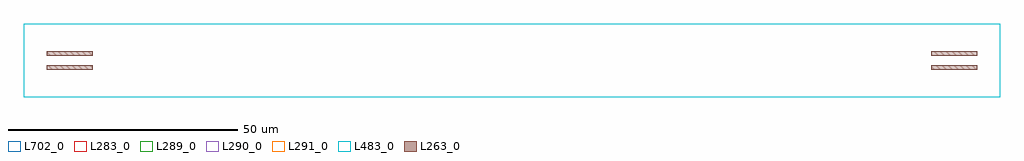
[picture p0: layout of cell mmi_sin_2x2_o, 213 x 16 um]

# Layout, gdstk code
import gdstk
lib = gdstk.Library(unit=1e-6, precision=1e-09)
def R(c, l, rs):  # rectangles x0, y0, x1, y1
    for r in rs: c.add(gdstk.rectangle(r[:2], r[2:], *l))
L263_0 = (263, 0)
L283_0 = (283, 0)
L289_0 = (289, 0)
L290_0 = (290, 0)
L291_0 = (291, 0)
L483_0 = (483, 0)
L702_0 = (702, 0)

mmi_sin_2x2_o = lib.new_cell('mmi_sin_2x2_o')
R(mmi_sin_2x2_o, L263_0, [(-26.5,1,-16.5,2), (166.5,1,176.5,2), (-26.5,4,-16.5,5), (166.5,4,176.5,5)])
R(mmi_sin_2x2_o, L283_0, [(-31.5,-5,181.5,11)])
R(mmi_sin_2x2_o, L289_0, [(-31.5,-5,181.5,11)])
R(mmi_sin_2x2_o, L290_0, [(-31.5,-5,181.5,11)])
R(mmi_sin_2x2_o, L291_0, [(-31.5,-5,181.5,11)])
R(mmi_sin_2x2_o, L483_0, [(-31.5,-5,181.5,11)])
R(mmi_sin_2x2_o, L702_0, [(-31.5,-5,181.5,11)])

lib.write_gds('mmi_sin_2x2_o.gds')
